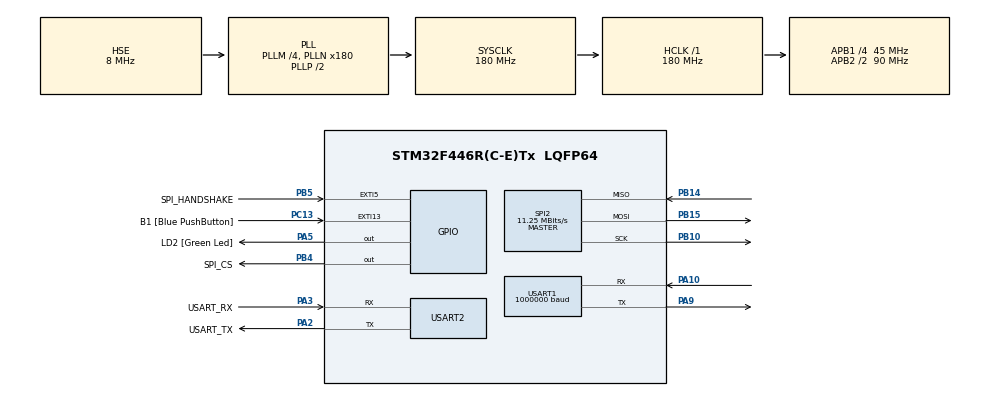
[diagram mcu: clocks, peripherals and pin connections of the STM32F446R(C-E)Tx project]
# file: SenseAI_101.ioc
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Dma.Request0=USART1_TX
Dma.Request1=USART1_RX
Dma.USART1_RX.1.Direction=DMA_PERIPH_TO_MEMORY
Dma.USART1_RX.1.FIFOMode=DMA_FIFOMODE_DISABLE
Dma.USART1_RX.1.Instance=DMA2_Stream2
Dma.USART1_RX.1.MemDataAlignment=DMA_MDATAALIGN_BYTE
Dma.USART1_RX.1.MemInc=DMA_MINC_ENABLE
Dma.USART1_RX.1.Mode=DMA_NORMAL
Dma.USART1_RX.1.PeriphDataAlignment=DMA_PDATAALIGN_BYTE
Dma.USART1_RX.1.PeriphInc=DMA_PINC_DISABLE
Dma.USART1_RX.1.Priority=DMA_PRIORITY_LOW
Dma.USART1_TX.0.Direction=DMA_MEMORY_TO_PERIPH
Dma.USART1_TX.0.FIFOMode=DMA_FIFOMODE_DISABLE
Dma.USART1_TX.0.Instance=DMA2_Stream7
Dma.USART1_TX.0.MemDataAlignment=DMA_MDATAALIGN_BYTE
Dma.USART1_TX.0.MemInc=DMA_MINC_ENABLE
Dma.USART1_TX.0.Mode=DMA_NORMAL
Dma.USART1_TX.0.PeriphDataAlignment=DMA_PDATAALIGN_BYTE
Dma.USART1_TX.0.PeriphInc=DMA_PINC_DISABLE
Dma.USART1_TX.0.Priority=DMA_PRIORITY_LOW
Mcu.Family=STM32F4
Mcu.Name=STM32F446R(C-E)Tx
Mcu.Package=LQFP64
NVIC.DMA2_Stream2_IRQn=true\:0\:0\:false\:false\:true\:false\:true\:true
NVIC.DMA2_Stream7_IRQn=true\:0\:0\:false\:false\:true\:false\:true\:true
NVIC.EXTI9_5_IRQn=true\:0\:0\:false\:false\:true\:true\:true\:true
NVIC.PriorityGroup=NVIC_PRIORITYGROUP_0
NVIC.SPI2_IRQn=true\:0\:0\:false\:false\:true\:true\:true\:true
NVIC.USART1_IRQn=true\:0\:0\:false\:false\:true\:true\:true\:true
PA10.Mode=Asynchronous
PA10.Signal=USART1_RX
PA13.GPIO_Label=TMS
PA13.Mode=Serial_Wire
PA13.Signal=SYS_JTMS-SWDIO
PA14.GPIO_Label=TCK
PA14.Mode=Serial_Wire
PA14.Signal=SYS_JTCK-SWCLK
PA2.GPIO_Label=USART_TX
PA2.Mode=Asynchronous
PA2.Signal=USART2_TX
PA3.GPIO_Label=USART_RX
PA3.Mode=Asynchronous
PA3.Signal=USART2_RX
PA5.GPIO_Label=LD2 [Green Led]
PA5.GPIO_Speed=GPIO_SPEED_FREQ_VERY_HIGH
PA5.Signal=GPIO_Output
PA9.Mode=Asynchronous
PA9.Signal=USART1_TX
PB10.Mode=Full_Duplex_Master
PB10.Signal=SPI2_SCK
PB14.Mode=Full_Duplex_Master
PB14.Signal=SPI2_MISO
PB15.Mode=Full_Duplex_Master
PB15.Signal=SPI2_MOSI
PB3.GPIO_Label=SWO
PB3.Signal=SYS_JTDO-SWO
PB4.GPIO_Label=SPI_CS
PB4.GPIO_PuPd=GPIO_NOPULL
PB4.GPIO_Speed=GPIO_SPEED_FREQ_VERY_HIGH
PB4.PinState=GPIO_PIN_SET
PB4.Signal=GPIO_Output
PB5.GPIO_Label=SPI_HANDSHAKE
PB5.GPIO_PuPd=GPIO_PULLDOWN
PB5.Signal=GPXTI5
PC13.GPIO_Label=B1 [Blue PushButton]
PC13.GPIO_ModeDefaultEXTI=GPIO_MODE_IT_FALLING
PC13.Signal=GPXTI13
PC14-OSC32_IN.Mode=LSE-External-Oscillator
PC14-OSC32_IN.Signal=RCC_OSC32_IN
PC15-OSC32_OUT.Mode=LSE-External-Oscillator
PC15-OSC32_OUT.Signal=RCC_OSC32_OUT
PH0-OSC_IN.Mode=HSE-External-Oscillator
PH0-OSC_IN.Signal=RCC_OSC_IN
PH1-OSC_OUT.Mode=HSE-External-Oscillator
PH1-OSC_OUT.Signal=RCC_OSC_OUT
ProjectManager.HeapSize=0x200
ProjectManager.StackSize=0x400
ProjectManager.TargetToolchain=CMake
RCC.48MHZClocksFreq_Value=84000000
RCC.AHBFreq_Value=180000000
RCC.APB1CLKDivider=RCC_HCLK_DIV4
RCC.APB1Freq_Value=45000000
RCC.APB1TimFreq_Value=90000000
RCC.APB2CLKDivider=RCC_HCLK_DIV2
RCC.APB2Freq_Value=90000000
RCC.APB2TimFreq_Value=180000000
RCC.CortexFreq_Value=180000000
RCC.FLatency-AdvancedSettings=FLASH_LATENCY_5
RCC.HCLKFreq_Value=180000000
RCC.HSE_VALUE=8000000
RCC.HSI_VALUE=16000000
RCC.PLLM=4
RCC.PLLN=180
RCC.PLLSourceVirtual=RCC_PLLSOURCE_HSE
RCC.SYSCLKFreq_VALUE=180000000
RCC.SYSCLKSource=RCC_SYSCLKSOURCE_PLLCLK
RCC.USBFreq_Value=180000000
RCC.VCOOutputFreq_Value=360000000
SPI2.BaudRatePrescaler=SPI_BAUDRATEPRESCALER_4
SPI2.CalculateBaudRate=11.25 MBits/s
SPI2.Direction=SPI_DIRECTION_2LINES
SPI2.Mode=SPI_MODE_MASTER
SPI2.VirtualType=VM_MASTER
USART1.BaudRate=1000000
USART1.VirtualMode=VM_ASYNC
USART2.VirtualMode=VM_ASYNC
board=NUCLEO-F446RE

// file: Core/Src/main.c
/* USER CODE BEGIN Header */
/**
  ******************************************************************************
  * @file           : main.c
  * @brief          : Main program body
  ******************************************************************************
  * @attention
  *
  * Copyright (c) 2026 STMicroelectronics.
  * All rights reserved.
  *
  * This software is licensed under terms that can be found in the LICENSE file
  * in the root directory of this software component.
  * If no LICENSE file comes with this software, it is provided AS-IS.
  *
  ******************************************************************************
  */
/* USER CODE END Header */
#include "main.h"

/* USER CODE BEGIN Includes */
#include "servo_protocol.h"
#include "kinematics.h"
#include "servo_mapping.h"
#include "trajectory.h"
#include <stdlib.h>

#include "spi_master_transport.h"
/* USER CODE END Includes */

SPI_HandleTypeDef hspi2;

UART_HandleTypeDef huart1;
UART_HandleTypeDef huart2;
DMA_HandleTypeDef hdma_usart1_tx;
DMA_HandleTypeDef hdma_usart1_rx;

/* USER CODE BEGIN PV */
// Robot control modules
ServoProtocol_t servo_protocol;
TrajectoryController_t trajectory_controller;

// Status flags
volatile bool timer_update_flag = false;
volatile uint32_t system_tick_count = 0;
/* USER CODE END PV */

void SystemClock_Config(void);
static void MX_GPIO_Init(void);
static void MX_DMA_Init(void);
static void MX_USART1_UART_Init(void);
static void MX_USART2_UART_Init(void);
static void MX_SPI2_Init(void);

int main(void)
{

  /* MCU Configuration--------------------------------------------------------*/

  /* Reset of all peripherals, Initializes the Flash interface and the Systick. */
  HAL_Init();

  /* Configure the system clock */
  SystemClock_Config();

  /* Initialize all configured peripherals */
  MX_GPIO_Init();
  MX_DMA_Init();
  MX_USART1_UART_Init();
  MX_USART2_UART_Init();
  MX_SPI2_Init();
  /* USER CODE BEGIN 2 */
  Kinematics_Init();
  ServoMapping_Init();

  /* Initialize servo protocol on UART1 */
  if (Servo_Init(&servo_protocol, &huart1) != SERVO_OK) {
    Error_Handler();
  }

  /* Initialize trajectory controller */
  if (Trajectory_Init(&trajectory_controller, &servo_protocol) != TRAJ_OK) {
    Error_Handler();
  }

  Trajectory_Enable(&trajectory_controller, true);

  /* Wait for servos to power up */
  HAL_Delay(100);

  /* Seed PRNG for IK random restarts (non-deterministic restarts) */
  srand(HAL_GetTick());

  /* Start non-blocking ping sequence: ping IDs 1..6, main loop will handle responses */
  /* ping will be driven by variables in the main loop */

  /* Enable torque on all servos */
  for (uint8_t servo_id = 1; servo_id <= 6; servo_id++) {
    Servo_SetTorqueEnable(&servo_protocol, servo_id, true);
    HAL_Delay(10);
  }

  /* Move to home position (mid-range) */
  JointAngles_t home_angles;
  home_angles.q[0] = 0.0f;   /* Shoulder lift */
  home_angles.q[1] = 0.0f;   /* Elbow */
  home_angles.q[2] = 0.0f;   /* Wrist pitch */
  home_angles.q[3] = 0.0f;   /* Wrist roll */
  Trajectory_MoveToJoints(&trajectory_controller, &home_angles, 0.0f, 50.0f, 2000);

  /* USER CODE END 2 */

  /* Infinite loop */
  while (1)
  {

    /* USER CODE BEGIN 3 */
    uint8_t cycle_seq = 0;
    float current_obs[4] = {0.0f, 0.0f, 0.0f, 0.0f}; // Deine Zustandsdaten
    float network_action[1] = {0.0f};               // Ergebnis

    static uint32_t last_trajectory_update = 0;
    static uint32_t last_command_time = 0; // initialized to 0; set below on first loop
    static uint8_t command_sequence = 0;
    static uint32_t led_counter = 0;

    /* Initialize last_command_time on first loop to allow immediate commands */
    if (last_command_time == 0) {
      last_command_time = HAL_GetTick() - 3000;
    }

    /* Process servo protocol and update trajectory at configured frequency */
    if (HAL_GetTick() - last_trajectory_update >= TRAJECTORY_PERIOD_MS) {
      last_trajectory_update = HAL_GetTick();
      Servo_Process(&servo_protocol);
      Trajectory_Update(&trajectory_controller);

      /* Blink LED to show activity */
      if (++led_counter >= 25) {
        HAL_GPIO_TogglePin(LD2_GPIO_Port, LD2_Pin);
        led_counter = 0;
      }
    }

    /* Non-blocking ping state machine (run once after init) */
    static uint8_t ping_next_id = 1;
    static bool ping_waiting = false;
    static uint32_t ping_deadline = 0;
    static uint32_t last_ping_sent = 0;

    if (ping_next_id <= 6) {
      if (!ping_waiting) {
        /* send next ping every 60ms to avoid collisions */
        if (HAL_GetTick() - last_ping_sent >= 60) {
          Servo_Ping(&servo_protocol, ping_next_id);
          ping_waiting = true;
          ping_deadline = HAL_GetTick() + servo_protocol.timeout_ms;
          last_ping_sent = HAL_GetTick();
        }
      } else {
        /* waiting for response or timeout */
        if (servo_protocol.state == SERVO_STATE_RX_COMPLETE) {
          /* Response received - blink and clear state */
          HAL_GPIO_TogglePin(LD2_GPIO_Port, LD2_Pin);
          /* Clear RX state and advance */
          servo_protocol.rx_length = 0;
          servo_protocol.rx_expected_length = 0;
          servo_protocol.state = SERVO_STATE_IDLE;
          ping_waiting = false;
          ping_next_id++;
        } else if (HAL_GetTick() > ping_deadline) {
          /* Timeout - advance to next servo */
          ping_waiting = false;
          ping_next_id++;
        }
      }
    }

    /* Periodic example command sequence */
    if (Trajectory_IsIdle(&trajectory_controller) && HAL_GetTick() - last_command_time >= 2000) {
      last_command_time = HAL_GetTick();
      CartesianPose_t target_pose;
      switch (command_sequence) {
        case 0:
            // Ziel: 45° Rotation, Maximale Reichweite
            target_pose.x = 0.22f;
            target_pose.y = 0.22f; // X = Y erzwingt 45° über atan2(y,x)
            target_pose.z = 0.2f;

            target_pose.pitch = 0.0f;
            target_pose.roll = 0.0f;

            // Die 0.0f hier wird durch die Auto-Base Logik in trajectory.c überschrieben
            Trajectory_MoveToPose(&trajectory_controller, &target_pose, 0.0f, 50.0f, 2000);
            break;
        case 1:
          // Normal working position — base rotation computed automatically from X/Y
          target_pose.x = 0.15f; target_pose.y = 0.10f; target_pose.z = 0.25f;
          target_pose.roll = 0.0f; target_pose.pitch = 0.0f; target_pose.yaw = 0.0f;
          Trajectory_MoveToPose(&trajectory_controller, &target_pose, 0.0f, 80.0f, 2000);
          break;
        case 2:
          // Fully extended test
          target_pose.x = 0.25f; target_pose.y = 0.0f; target_pose.z = 0.30f;
          target_pose.roll = 0.0f; target_pose.pitch = 0.0f; target_pose.yaw = 0.0f;
          Trajectory_MoveToPose(&trajectory_controller, &target_pose, 0.0f, 20.0f, 2000);
          break;
        case 3: {
          break; // For testing skip homing
          JointAngles_t home;
          // Home: all joints vertical (q=0)
          home.q[0] = 0.0f; home.q[1] = 0.0f; home.q[2] = 0.0f; home.q[3] = 0.0f;
          Trajectory_MoveToJoints(&trajectory_controller, &home, 0.0f, 50.0f, 2000);
        } break;
      }
      command_sequence = (command_sequence + 1) % 4;
    }
  }
  /* USER CODE END 3 */
}

void SystemClock_Config(void)
{
  RCC_OscInitTypeDef RCC_OscInitStruct = {0};
  RCC_ClkInitTypeDef RCC_ClkInitStruct = {0};

  /** Configure the main internal regulator output voltage
  */
  __HAL_RCC_PWR_CLK_ENABLE();
  __HAL_PWR_VOLTAGESCALING_CONFIG(PWR_REGULATOR_VOLTAGE_SCALE1);

  /** Initializes the RCC Oscillators according to the specified parameters
  * in the RCC_OscInitTypeDef structure.
  */
  RCC_OscInitStruct.OscillatorType = RCC_OSCILLATORTYPE_HSE;
  RCC_OscInitStruct.HSEState = RCC_HSE_ON;
  RCC_OscInitStruct.PLL.PLLState = RCC_PLL_ON;
  RCC_OscInitStruct.PLL.PLLSource = RCC_PLLSOURCE_HSE;
  RCC_OscInitStruct.PLL.PLLM = 4;
  RCC_OscInitStruct.PLL.PLLN = 180;
  RCC_OscInitStruct.PLL.PLLP = RCC_PLLP_DIV2;
  RCC_OscInitStruct.PLL.PLLQ = 2;
  RCC_OscInitStruct.PLL.PLLR = 2;
  if (HAL_RCC_OscConfig(&RCC_OscInitStruct) != HAL_OK)
  {
    Error_Handler();
  }

  /** Activate the Over-Drive mode
  */
  if (HAL_PWREx_EnableOverDrive() != HAL_OK)
  {
    Error_Handler();
  }

  /** Initializes the CPU, AHB and APB buses clocks
  */
  RCC_ClkInitStruct.ClockType = RCC_CLOCKTYPE_HCLK|RCC_CLOCKTYPE_SYSCLK
                              |RCC_CLOCKTYPE_PCLK1|RCC_CLOCKTYPE_PCLK2;
  RCC_ClkInitStruct.SYSCLKSource = RCC_SYSCLKSOURCE_PLLCLK;
  RCC_ClkInitStruct.AHBCLKDivider = RCC_SYSCLK_DIV1;
  RCC_ClkInitStruct.APB1CLKDivider = RCC_HCLK_DIV4;
  RCC_ClkInitStruct.APB2CLKDivider = RCC_HCLK_DIV2;

  if (HAL_RCC_ClockConfig(&RCC_ClkInitStruct, FLASH_LATENCY_5) != HAL_OK)
  {
    Error_Handler();
  }
}

static void MX_SPI2_Init(void)
{

  /* SPI2 parameter configuration*/
  hspi2.Instance = SPI2;
  hspi2.Init.Mode = SPI_MODE_MASTER;
  hspi2.Init.Direction = SPI_DIRECTION_2LINES;
  hspi2.Init.DataSize = SPI_DATASIZE_8BIT;
  hspi2.Init.CLKPolarity = SPI_POLARITY_LOW;
  hspi2.Init.CLKPhase = SPI_PHASE_1EDGE;
  hspi2.Init.NSS = SPI_NSS_SOFT;
  hspi2.Init.BaudRatePrescaler = SPI_BAUDRATEPRESCALER_4;
  hspi2.Init.FirstBit = SPI_FIRSTBIT_MSB;
  hspi2.Init.TIMode = SPI_TIMODE_DISABLE;
  hspi2.Init.CRCCalculation = SPI_CRCCALCULATION_DISABLE;
  hspi2.Init.CRCPolynomial = 10;
  if (HAL_SPI_Init(&hspi2) != HAL_OK)
  {
    Error_Handler();
  }

}

static void MX_USART1_UART_Init(void)
{

  huart1.Instance = USART1;
  huart1.Init.BaudRate = 1000000;
  huart1.Init.WordLength = UART_WORDLENGTH_8B;
  huart1.Init.StopBits = UART_STOPBITS_1;
  huart1.Init.Parity = UART_PARITY_NONE;
  huart1.Init.Mode = UART_MODE_TX_RX;
  huart1.Init.HwFlowCtl = UART_HWCONTROL_NONE;
  huart1.Init.OverSampling = UART_OVERSAMPLING_16;
  if (HAL_UART_Init(&huart1) != HAL_OK)
  {
    Error_Handler();
  }

}

static void MX_USART2_UART_Init(void)
{

  huart2.Instance = USART2;
  huart2.Init.BaudRate = 115200;
  huart2.Init.WordLength = UART_WORDLENGTH_8B;
  huart2.Init.StopBits = UART_STOPBITS_1;
  huart2.Init.Parity = UART_PARITY_NONE;
  huart2.Init.Mode = UART_MODE_TX_RX;
  huart2.Init.HwFlowCtl = UART_HWCONTROL_NONE;
  huart2.Init.OverSampling = UART_OVERSAMPLING_16;
  if (HAL_UART_Init(&huart2) != HAL_OK)
  {
    Error_Handler();
  }

}

static void MX_DMA_Init(void)
{

  /* DMA controller clock enable */
  __HAL_RCC_DMA2_CLK_ENABLE();

  /* DMA interrupt init */
  /* DMA2_Stream2_IRQn interrupt configuration */
  HAL_NVIC_SetPriority(DMA2_Stream2_IRQn, 0, 0);
  HAL_NVIC_EnableIRQ(DMA2_Stream2_IRQn);
  /* DMA2_Stream7_IRQn interrupt configuration */
  HAL_NVIC_SetPriority(DMA2_Stream7_IRQn, 0, 0);
  HAL_NVIC_EnableIRQ(DMA2_Stream7_IRQn);

}

static void MX_GPIO_Init(void)
{
  GPIO_InitTypeDef GPIO_InitStruct = {0};

  /* GPIO Ports Clock Enable */
  __HAL_RCC_GPIOC_CLK_ENABLE();
  __HAL_RCC_GPIOH_CLK_ENABLE();
  __HAL_RCC_GPIOA_CLK_ENABLE();
  __HAL_RCC_GPIOB_CLK_ENABLE();

  /*Configure GPIO pin Output Level */
  HAL_GPIO_WritePin(LD2_GPIO_Port, LD2_Pin, GPIO_PIN_RESET);

  /*Configure GPIO pin Output Level */
  HAL_GPIO_WritePin(SPI_CS_GPIO_Port, SPI_CS_Pin, GPIO_PIN_SET);

  /*Configure GPIO pin : B1_Pin */
  GPIO_InitStruct.Pin = B1_Pin;
  GPIO_InitStruct.Mode = GPIO_MODE_IT_FALLING;
  GPIO_InitStruct.Pull = GPIO_NOPULL;
  HAL_GPIO_Init(B1_GPIO_Port, &GPIO_InitStruct);

  /*Configure GPIO pin : LD2_Pin */
  GPIO_InitStruct.Pin = LD2_Pin;
  GPIO_InitStruct.Mode = GPIO_MODE_OUTPUT_PP;
  GPIO_InitStruct.Pull = GPIO_NOPULL;
  GPIO_InitStruct.Speed = GPIO_SPEED_FREQ_VERY_HIGH;
  HAL_GPIO_Init(LD2_GPIO_Port, &GPIO_InitStruct);

  /*Configure GPIO pin : SPI_CS_Pin */
  GPIO_InitStruct.Pin = SPI_CS_Pin;
  GPIO_InitStruct.Mode = GPIO_MODE_OUTPUT_PP;
  GPIO_InitStruct.Pull = GPIO_NOPULL;
  GPIO_InitStruct.Speed = GPIO_SPEED_FREQ_VERY_HIGH;
  HAL_GPIO_Init(SPI_CS_GPIO_Port, &GPIO_InitStruct);

  /*Configure GPIO pin : SPI_HANDSHAKE_Pin */
  GPIO_InitStruct.Pin = SPI_HANDSHAKE_Pin;
  GPIO_InitStruct.Mode = GPIO_MODE_IT_RISING;
  GPIO_InitStruct.Pull = GPIO_PULLDOWN;
  HAL_GPIO_Init(SPI_HANDSHAKE_GPIO_Port, &GPIO_InitStruct);

  /* EXTI interrupt init*/
  HAL_NVIC_SetPriority(EXTI9_5_IRQn, 0, 0);
  HAL_NVIC_EnableIRQ(EXTI9_5_IRQn);

}

void Error_Handler(void)
{
  __disable_irq();
  while (1)
  {
  }
}
